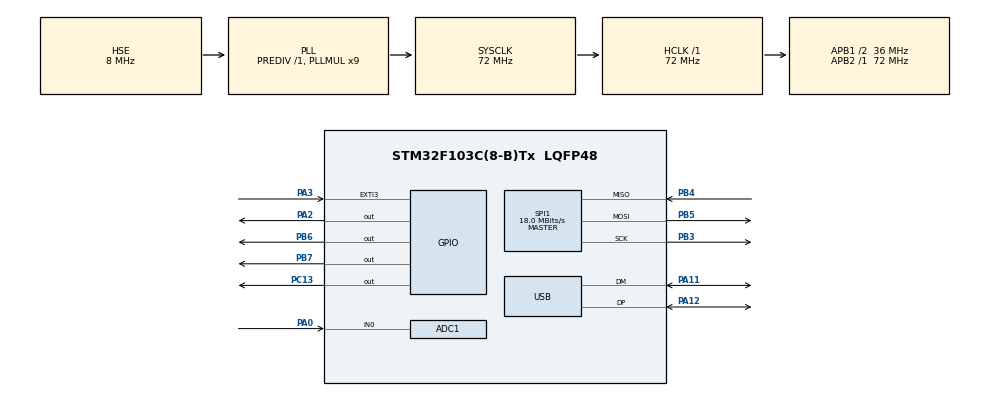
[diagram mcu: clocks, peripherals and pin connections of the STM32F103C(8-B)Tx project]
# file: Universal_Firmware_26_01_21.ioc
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ADC1.Channel-0\#ChannelRegularConversion=ADC_CHANNEL_0
ADC1.ContinuousConvMode=ENABLE
ADC1.NbrOfConversionFlag=1
ADC1.Rank-0\#ChannelRegularConversion=1
ADC1.SamplingTime-0\#ChannelRegularConversion=ADC_SAMPLETIME_1CYCLE_5
ADC1.master=1
Dma.ADC1.0.Direction=DMA_PERIPH_TO_MEMORY
Dma.ADC1.0.Instance=DMA1_Channel1
Dma.ADC1.0.MemDataAlignment=DMA_MDATAALIGN_HALFWORD
Dma.ADC1.0.MemInc=DMA_MINC_ENABLE
Dma.ADC1.0.Mode=DMA_CIRCULAR
Dma.ADC1.0.PeriphDataAlignment=DMA_PDATAALIGN_HALFWORD
Dma.ADC1.0.PeriphInc=DMA_PINC_DISABLE
Dma.ADC1.0.Priority=DMA_PRIORITY_VERY_HIGH
Dma.Request0=ADC1
Mcu.Family=STM32F1
Mcu.Name=STM32F103C(8-B)Tx
Mcu.Package=LQFP48
NVIC.DMA1_Channel1_IRQn=true\:0\:0\:false\:false\:true\:false\:true
NVIC.EXTI3_IRQn=true\:1\:0\:true\:false\:true\:true\:true
NVIC.PriorityGroup=NVIC_PRIORITYGROUP_4
NVIC.USB_HP_CAN1_TX_IRQn=true\:2\:0\:true\:false\:true\:true\:true
NVIC.USB_LP_CAN1_RX0_IRQn=true\:2\:0\:true\:false\:true\:false\:true
PA0-WKUP.Signal=ADCx_IN0
PA11.Mode=Device
PA11.Signal=USB_DM
PA12.Mode=Device
PA12.Signal=USB_DP
PA2.Signal=GPIO_Output
PA3.Signal=GPXTI3
PB3.Mode=Full_Duplex_Master
PB3.Signal=SPI1_SCK
PB4.Mode=Full_Duplex_Master
PB4.Signal=SPI1_MISO
PB5.Mode=Full_Duplex_Master
PB5.Signal=SPI1_MOSI
PB6.Signal=GPIO_Output
PB7.Signal=GPIO_Output
PC13-TAMPER-RTC.Signal=GPIO_Output
PC14-OSC32_IN.Mode=LSE-External-Oscillator
PC14-OSC32_IN.Signal=RCC_OSC32_IN
PC15-OSC32_OUT.Mode=LSE-External-Oscillator
PC15-OSC32_OUT.Signal=RCC_OSC32_OUT
PD0-OSC_IN.Mode=HSE-External-Oscillator
PD0-OSC_IN.Signal=RCC_OSC_IN
PD1-OSC_OUT.Mode=HSE-External-Oscillator
PD1-OSC_OUT.Signal=RCC_OSC_OUT
ProjectManager.HeapSize=0x200
ProjectManager.StackSize=0x400
ProjectManager.TargetToolchain=STM32CubeIDE
RCC.ADCPresc=RCC_ADCPCLK2_DIV6
RCC.AHBFreq_Value=72000000
RCC.APB1CLKDivider=RCC_HCLK_DIV2
RCC.APB1Freq_Value=36000000
RCC.APB1TimFreq_Value=72000000
RCC.APB2Freq_Value=72000000
RCC.APB2TimFreq_Value=72000000
RCC.HCLKFreq_Value=72000000
RCC.PLLMUL=RCC_PLL_MUL9
RCC.PLLSourceVirtual=RCC_PLLSOURCE_HSE
RCC.SYSCLKFreq_VALUE=72000000
RCC.SYSCLKSource=RCC_SYSCLKSOURCE_PLLCLK
RCC.USBFreq_Value=48000000
RCC.USBPrescaler=RCC_USBCLKSOURCE_PLL_DIV1_5
SH.ADCx_IN0.0=ADC1_IN0,IN0
SPI1.BaudRatePrescaler=SPI_BAUDRATEPRESCALER_4
SPI1.CalculateBaudRate=18.0 MBits/s
SPI1.DataSize=SPI_DATASIZE_16BIT
SPI1.Direction=SPI_DIRECTION_2LINES
SPI1.Mode=SPI_MODE_MASTER
SPI1.VirtualType=VM_MASTER
USB_DEVICE.APP_RX_DATA_SIZE=256
USB_DEVICE.APP_TX_DATA_SIZE=256
USB_DEVICE.CLASS_NAME_FS=CDC
USB_DEVICE.VirtualMode=Cdc
USB_DEVICE.VirtualModeFS=Cdc_FS
VP_SYS_VS_ND.Mode=No_Debug
VP_USB_DEVICE_VS_USB_DEVICE_CDC_FS.Mode=CDC_FS
board=custom

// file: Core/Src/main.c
/* USER CODE BEGIN Header */
/**
  ******************************************************************************
  * @file           : main.c
  * @brief          : Main program body
  ******************************************************************************
  * @attention
  *
  * <h2><center>&copy; Copyright (c) 2020 STMicroelectronics.
  * All rights reserved.</center></h2>
  *
  * This software component is licensed by ST under Ultimate Liberty license
  * SLA0044, the "License"; You may not use this file except in compliance with
  * the License. You may obtain a copy of the License at:
  *                             www.st.com/SLA0044
  *
  ******************************************************************************
  */
/* USER CODE END Header */
#include "main.h"
#include "adc.h"
#include "dma.h"
#include "spi.h"
#include "usb_device.h"
#include "gpio.h"

/* USER CODE BEGIN PM */

/* Size of 'DMA_Buf' */
#define DMA_Size 200

/* Half of size of 'DMA_Buf' */
#define DMA_Half 100

/* Buffer for DMA */
uint16_t DMA_Buf[DMA_Size];

/* Size of 'CDC_Buf' */
#define CDC_Size 5000

/* Number of parts of 'DMA_Buf' in 'CDC_Buf' */
#define CDC_Parts CDC_Size / DMA_Half

/* Buffer for CDC transmission */
uint16_t CDC_Buf[CDC_Size];

/* Part of 'CDC_Buf' for memcpy in Callback */
uint16_t CDC_part = 0;

/**
 * Flag of ADC status.
 * If == 0 <=> Ready for sending in VCP
 * If == 1 <=> ADC is busy, conversion
 */
uint8_t ADC_Status = 0;

/**
 * Flag of CDC status.
 * If == 0 <=> 'CDC_Buf' isn't full, transmission denied
 * If == 1 <=> 'CDC_Buf' is full, transmission allow
 */
uint8_t CDC_Status = 0;

/**
 * Flag of CDC enable transmission status, marked from PC VCP.
 * If == 0 <=> Sending data isn't called
 * If == 1 <=> Asking for sending data in VCP
 */
uint8_t CDC_Request = 0;

/* Size of 'RX_Buf' */
#define RX_Buf_Size 64

/* VCP RX input buffer */
char RX_Buf[RX_Buf_Size];

/* Level of triggering in trigger mode (0-4095) */
uint16_t Trig_level = 500;

/**
 * Flag of trigger status in trigger mode
 * If == 0 <=> Trigger module isn't triggered, writing 0 CDC_part of CDC_Buf
 * If == 1 <=> Trigger is triggered, writing 1-2 CDC_part of CDC_Buf
 */
uint16_t Trig_status = 0;

/**
 * Modes of module working
 * If == 0 <=> Sleep mode
 * If == 1 <=> Trace mode
 * If == 2 <=> True Trigger mode
 * If == 3 <=> Auto Trigger mode
 */
uint8_t Mode = 0;

/* Mods constants */
#define Sleep_Mode_Num 			0
#define Trace_Mode_Num 			1
#define True_Trigger_Mode_Num 	2
#define Auto_Trigger_Mode_Num 	3
#define Set_Gain_Num			4
#define Set_Trigger_Level_Num	5
#define Request_Num				6

/* USER CODE END PM */

void SystemClock_Config(void);

/* USER CODE BEGIN 0 */

/* Function of start symbol transmission */
void Start_Symbol()
{
	uint16_t mess = 0xFFFF;
	while(CDC_Transmit_FS(&mess, sizeof(mess)) == USBD_BUSY);
}

/* Function of stop symbol transmission */
void Stop_Symbol()
{
	uint16_t mess = 0xFFFE;
	while(CDC_Transmit_FS(&mess, sizeof(mess)) == USBD_BUSY);
}

/**
 * @brief	Function of True Trigger Mode
 * If module is triggered in "For" cycle, It fills CDC_Buf with ADC conversion to transmit by VCP.
 * If module isn't triggered in "For"  cycle, It do nothing.
 */
void True_Trigger_Mode()
{
	Trig_status = 0;
	ADC_Status = 1;
	for (int i = 0; i<100; i++){}
	for (int i = 0; i<10000;i++)
	{
		if(HAL_ADC_GetValue(&hadc1) > Trig_level)
		{
			Trig_status = 1;
			while(Trig_status == 1){}
			HAL_GPIO_WritePin(GPIOA, GPIO_PIN_2, GPIO_PIN_SET);
			HAL_Delay(1);
			HAL_GPIO_WritePin(GPIOA, GPIO_PIN_2, GPIO_PIN_RESET);
			return ;
		}
	}
}

/**
 * @brief	Function of Auto Trigger Mode
 * If module is triggered in "For" cycle, It fills CDC_Buf with ADC conversion to transmit by VCP.
 * If module isn't triggered in "For"  cycle, It triggered forced after cycle.
 * This mode is useful to setting modules.
 */
void Auto_Trigger_Mode()
{
	ADC_Status = 1;
	Trig_status = 0;
	for (int i = 0; i<100; i++){}
	for (int i = 0; i<10000;i++)
	{
		if(HAL_ADC_GetValue(&hadc1) > Trig_level)
		{
			Trig_status = 1;
			while(Trig_status == 1){}
			HAL_GPIO_WritePin(GPIOA, GPIO_PIN_2, GPIO_PIN_SET);
			HAL_Delay(1);
			HAL_GPIO_WritePin(GPIOA, GPIO_PIN_2, GPIO_PIN_RESET);
			return ;
		}
	}
	Trig_status = 1;
	while(Trig_status == 1){}
	HAL_GPIO_WritePin(GPIOA, GPIO_PIN_2, GPIO_PIN_SET);
	HAL_Delay(1);
	HAL_GPIO_WritePin(GPIOA, GPIO_PIN_2, GPIO_PIN_RESET);
	return ;
}

/**
 * @brief	Function of transmitting data by VCP
 * Send start symbol, CDC_Transmit_Size amount of dots, stop symbol
 * @param CDC_Transmit_Size: number of dots of transmitting data
 */
void CDC_Send_Data(uint16_t CDC_Transmit_Size)
{
	if((CDC_Status == 1)&&(CDC_Request == 1))
	{
		HAL_GPIO_WritePin(GPIOC, GPIO_PIN_13, GPIO_PIN_RESET);
		Start_Symbol();
		while(CDC_Transmit_FS((uint8_t*)&CDC_Buf, sizeof(uint16_t)*CDC_Transmit_Size) == USBD_BUSY);
		Stop_Symbol();
		HAL_GPIO_WritePin(GPIOC, GPIO_PIN_13, GPIO_PIN_SET);
		CDC_Status = 0;
		CDC_Request = 0;
	 }
}

/**
 * @brief	Function of setting voltage of DAC MCP4921
 * @param	val: value of gain on DAC, val = 0..4095
 */
void DAC_Write(uint16_t val)
{
	/* Init transmittion data: 4 register bits + 12 value bits */
	/* See MCP4921 datasheet */
	uint16_t dac_data = 0x7000 | (val&0x0FFF);
	uint8_t data[2];
	memcpy(&data, &dac_data, sizeof(data));

	/* SPI CS Low, SPI transmitt, SPI CS High */
	HAL_GPIO_WritePin(GPIOB, GPIO_PIN_7, GPIO_PIN_RESET);
	HAL_SPI_Transmit(&hspi1, data, sizeof(data), 0);
	HAL_GPIO_WritePin(GPIOB, GPIO_PIN_7, GPIO_PIN_SET);
}

/**
 * @brief	Function of parser in "while" cycle of firmware
 * Mode is main variable for choosing function_mode
 */
void While_Parser()
{
	switch(Mode)
	{
	case Sleep_Mode_Num:
		__NOP();
		break;

	case Trace_Mode_Num:
		CDC_Send_Data(CDC_Size);
		break;

	case True_Trigger_Mode_Num:
		True_Trigger_Mode();
		CDC_Send_Data(DMA_Half*3);
		Mode = 0;
		break;

	case Auto_Trigger_Mode_Num:
		Auto_Trigger_Mode();
		CDC_Send_Data(DMA_Half*3);
		Mode = 0;
		break;
	}
}

/**
 * @brief	Function of CDC_ReciveCallBack parsing
 * @param	mode: mode bit
 * @param	val: value for set mode
 */
void CDC_Callback_Parser(uint8_t mode, uint16_t val)
{
	switch(mode)
	{
	case Sleep_Mode_Num:
		Mode = mode;
		break;

	case Trace_Mode_Num:
		Mode = mode;
		break;

	case True_Trigger_Mode_Num:
		Mode = mode;
		break;

	case Auto_Trigger_Mode_Num:
		Mode = mode;
		break;

	case Set_Gain_Num:
		DAC_Write(val);
		break;

	case Set_Trigger_Level_Num:
		Trig_level = val;
		break;

	case Request_Num:
		CDC_Request = 1;
		break;
	}
}

/**
 * @brief	Function of HAL_ADC_ConvCpltCallback(DMA) for Auto and True Trigger mode
 * @param	half: half of active DMA buffer fo copy
 */
void Trigger_DMA_Callback(uint8_t half)
{
	if(ADC_Status == 1)
	{
		if(half == 0)
			memcpy(&CDC_Buf[CDC_part*DMA_Half], &DMA_Buf[0],sizeof(uint16_t)*DMA_Half );
		else
			memcpy(&CDC_Buf[CDC_part*DMA_Half], &DMA_Buf[DMA_Half],sizeof(uint16_t)*DMA_Half );

		if(Trig_status == 1)
			CDC_part = CDC_part + 1;
		else
			CDC_part = 0;
		if(CDC_part == 3)
		{
			CDC_Status = 1;
			ADC_Status = 0;
			CDC_part = 0;
			Trig_status = 0;
		}
	}
}

/**
 * @brief	Function of HAL_ADC_ConvCpltCallback(DMA) for Trace mode
 * @param	half: half of active DMA buffer fo copy
 */
void Trace_DMA_Callback(uint8_t half)
{
	if(ADC_Status == 1)
	{
		if(half == 0)
			memcpy(&CDC_Buf[CDC_part*DMA_Half], &DMA_Buf[0],sizeof(uint16_t)*DMA_Half );
		else
			memcpy(&CDC_Buf[CDC_part*DMA_Half], &DMA_Buf[DMA_Half],sizeof(uint16_t)*DMA_Half );

		CDC_part = CDC_part + 1;
		if(CDC_part == CDC_Parts)
		{
			CDC_Status = 1;
			ADC_Status = 0;
			CDC_part = 0;
			HAL_ADC_Stop_DMA(&hadc1);
		}
	}
}

/* USER CODE END 0 */

int main(void)
{

  /* MCU Configuration--------------------------------------------------------*/

  /* Reset of all peripherals, Initializes the Flash interface and the Systick. */
  HAL_Init();

  /* Configure the system clock */
  SystemClock_Config();

  /* Initialize all configured peripherals */
  MX_GPIO_Init();
  MX_DMA_Init();
  MX_ADC1_Init();
  MX_USB_DEVICE_Init();
  MX_SPI1_Init();
  /* USER CODE BEGIN 2 */

  /* Calibration of ADC (hadc1) for extra accuracy */
  HAL_ADCEx_Calibration_Start(&hadc1);

  /* Start first DMA cycle */
  HAL_ADC_Start_DMA(&hadc1, (uint32_t*) DMA_Buf, DMA_Size);

  /* Init PC13 State. Light is off. */
  HAL_GPIO_WritePin(GPIOC, GPIO_PIN_13, GPIO_PIN_SET);

  /* USER CODE END 2 */

  /* Infinite loop */
  /* USER CODE BEGIN WHILE */
  while (1)
  {
	  While_Parser();

    /* USER CODE END WHILE */

  }
}

void SystemClock_Config(void)
{
  RCC_OscInitTypeDef RCC_OscInitStruct = {0};
  RCC_ClkInitTypeDef RCC_ClkInitStruct = {0};
  RCC_PeriphCLKInitTypeDef PeriphClkInit = {0};

  /** Initializes the RCC Oscillators according to the specified parameters
  * in the RCC_OscInitTypeDef structure.
  */
  RCC_OscInitStruct.OscillatorType = RCC_OSCILLATORTYPE_HSE;
  RCC_OscInitStruct.HSEState = RCC_HSE_ON;
  RCC_OscInitStruct.HSEPredivValue = RCC_HSE_PREDIV_DIV1;
  RCC_OscInitStruct.HSIState = RCC_HSI_ON;
  RCC_OscInitStruct.PLL.PLLState = RCC_PLL_ON;
  RCC_OscInitStruct.PLL.PLLSource = RCC_PLLSOURCE_HSE;
  RCC_OscInitStruct.PLL.PLLMUL = RCC_PLL_MUL9;
  if (HAL_RCC_OscConfig(&RCC_OscInitStruct) != HAL_OK)
  {
    Error_Handler();
  }
  /** Initializes the CPU, AHB and APB buses clocks
  */
  RCC_ClkInitStruct.ClockType = RCC_CLOCKTYPE_HCLK|RCC_CLOCKTYPE_SYSCLK
                              |RCC_CLOCKTYPE_PCLK1|RCC_CLOCKTYPE_PCLK2;
  RCC_ClkInitStruct.SYSCLKSource = RCC_SYSCLKSOURCE_PLLCLK;
  RCC_ClkInitStruct.AHBCLKDivider = RCC_SYSCLK_DIV1;
  RCC_ClkInitStruct.APB1CLKDivider = RCC_HCLK_DIV2;
  RCC_ClkInitStruct.APB2CLKDivider = RCC_HCLK_DIV1;

  if (HAL_RCC_ClockConfig(&RCC_ClkInitStruct, FLASH_LATENCY_2) != HAL_OK)
  {
    Error_Handler();
  }
  PeriphClkInit.PeriphClockSelection = RCC_PERIPHCLK_ADC|RCC_PERIPHCLK_USB;
  PeriphClkInit.AdcClockSelection = RCC_ADCPCLK2_DIV6;
  PeriphClkInit.UsbClockSelection = RCC_USBCLKSOURCE_PLL_DIV1_5;
  if (HAL_RCCEx_PeriphCLKConfig(&PeriphClkInit) != HAL_OK)
  {
    Error_Handler();
  }
}

/* USER CODE BEGIN 4 */

void HAL_GPIO_EXTI_Callback(uint16_t GPIO_Pin)
{
	if((GPIO_Pin == GPIO_PIN_3)&&(ADC_Status == 0)&&(CDC_Status == 0))
	{
		HAL_ADC_Stop_DMA(&hadc1);
		HAL_ADC_Start_DMA(&hadc1, (uint32_t*) DMA_Buf, DMA_Size);
		ADC_Status = 1;
	}
	else
	{
		__NOP();
	}
}

void CDC_ReciveCallBack(uint8_t *Buf, uint32_t *Len)
{
	memset(RX_Buf, 0, RX_Buf_Size);
	memcpy(RX_Buf, Buf, Len);

	uint16_t CDC_RX_Len = Len;
	uint8_t Mode_Byte = RX_Buf[0];
	uint16_t Value_Bytes = atoi(&RX_Buf[1]);
	CDC_Callback_Parser(Mode_Byte, Value_Bytes);
	RX_Buf[CDC_RX_Len] = '\n';
}

void HAL_ADC_ConvCpltCallback(ADC_HandleTypeDef* hadc)
{
	if(Mode == Trace_Mode_Num)
		Trace_DMA_Callback(1);
	if((Mode == Auto_Trigger_Mode_Num)||(Mode == True_Trigger_Mode_Num))
		Trigger_DMA_Callback(1);
	/*
	if(ADC_Status == 1)
	{
		memcpy(&CDC_Buf[CDC_part*DMA_Half], &DMA_Buf[DMA_Half],sizeof(uint16_t)*DMA_Half );

		if((Mode == Trace_Mode_Num)||(Trig_status == 1))
			CDC_part = CDC_part + 1;

		if((Trig_status == 1)&&(CDC_part == 3))
			CDC_part = CDC_Parts;

		if(CDC_part == CDC_Parts)
		{
			if(Mode == Trace_Mode_Num)
				HAL_ADC_Stop_DMA(&hadc1);

			CDC_Status = 1;
			ADC_Status = 0;
			CDC_part = 0;
			if(Trig_status == 1)
				Trig_status = 0;
		}
	}
	*/
}

void HAL_ADC_ConvHalfCpltCallback(ADC_HandleTypeDef* hadc)
{
	if(Mode == Trace_Mode_Num)
			Trace_DMA_Callback(0);
	if((Mode == Auto_Trigger_Mode_Num)||(Mode == True_Trigger_Mode_Num))
		Trigger_DMA_Callback(0);
	/*
	if(ADC_Status == 1)
	{
		memcpy(&CDC_Buf[CDC_part*DMA_Half], &DMA_Buf[0],sizeof(uint16_t)*DMA_Half );

		if((Mode == Trace_Mode_Num)||(Trig_status == 1))
			CDC_part = CDC_part + 1;

		if((Trig_status == 1)&&(CDC_part == 3))
			CDC_part = CDC_Parts;

		if(CDC_part == CDC_Parts)
		{
			if(Mode == Trace_Mode_Num)
				HAL_ADC_Stop_DMA(&hadc1);

			CDC_Status = 1;
			ADC_Status = 0;
			CDC_part = 0;
			if(Trig_status == 1)
				Trig_status = 0;
		}
	}
	*/
}

/* USER CODE END 4 */

void Error_Handler(void)
{
  __disable_irq();
  while (1)
  {
  }
}

/************************ (C) COPYRIGHT STMicroelectronics *****END OF FILE****/
